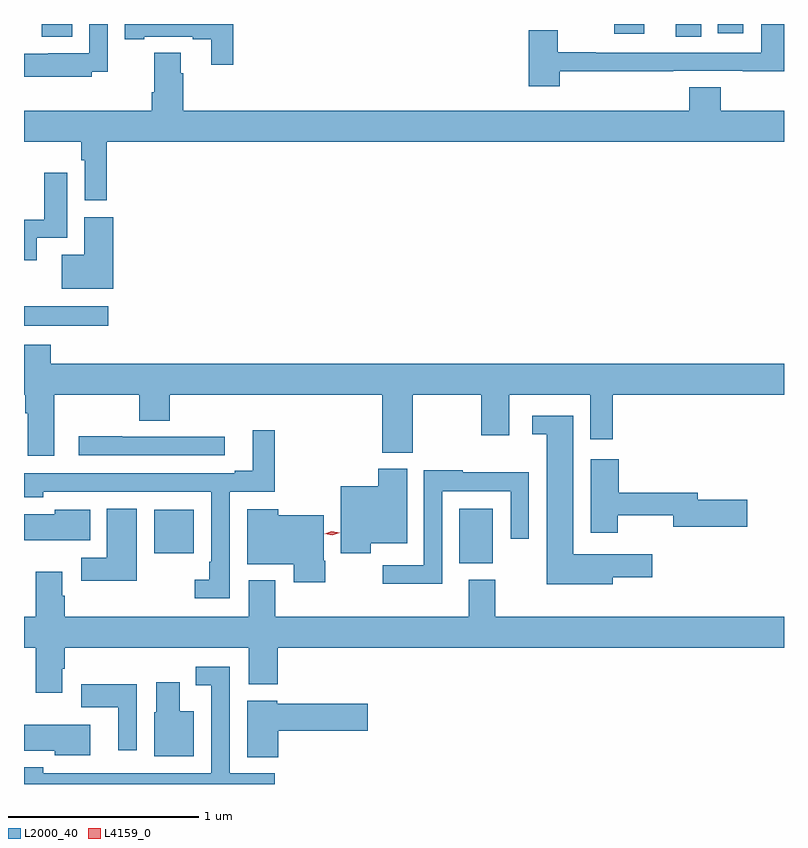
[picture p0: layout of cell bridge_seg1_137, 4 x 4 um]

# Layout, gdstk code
import gdstk
lib = gdstk.Library(unit=1e-6, precision=1e-09)
def R(c, l, rs):  # rectangles x0, y0, x1, y1
    for r in rs: c.add(gdstk.rectangle(r[:2], r[2:], *l))
def P(c, l, *ps):  # polygons
    for p in ps: c.add(gdstk.Polygon(p, *l))
L2000_40 = (2000, 40)
L4159_0 = (4159, 0)

bridge_seg1_137 = lib.new_cell('bridge_seg1_137')
R(bridge_seg1_137, L2000_40, [(493.22,568.163,493.396,568.45), (491.615,568.214,491.824,568.444), (490.93,569.411,491.374,569.515), (491.024,570.932,491.185,571), (494.36,570.934,494.494,571), (494.036,570.948,494.194,571), (494.582,570.951,494.716,571)])
P(bridge_seg1_137, L2000_40, [(492.032,571),(491.459,571),(491.459,570.921),(491.563,570.921),(491.563,570.933),(491.819,570.933),(491.819,570.921),(491.915,570.921),(491.915,570.786),(492.032,570.786)],
  [(493.751,570.752),(494.348,570.752),(494.348,570.753),(494.714,570.753),(494.714,570.752),(494.93,570.752),(494.93,571),(494.81,571),(494.81,570.849),(493.94,570.849),(493.94,570.851),(493.738,570.851),(493.738,570.967),(493.586,570.967),(493.586,570.672),(493.751,570.672)],
  [(491.286,570.749),(491.37,570.749),(491.37,571),(491.274,571),(491.274,570.846),(491.058,570.846),(491.058,570.844),(490.93,570.844),(490.93,570.722),(491.286,570.722)],
  [(494.93,570.544),(494.597,570.544),(494.597,570.668),(494.432,570.668),(494.432,570.544),(491.768,570.544),(491.768,570.74),(491.755,570.74),(491.755,570.848),(491.615,570.848),(491.615,570.64),(491.603,570.64),(491.603,570.544),(490.93,570.544),(490.93,570.38),(491.23,570.38),(491.23,570.284),(491.25,570.284),(491.25,570.072),(491.366,570.072),(491.366,570.38),(494.93,570.38)],
  [(490.996,569.874),(491.158,569.874),(491.158,570.217),(491.036,570.217),(491.036,569.97),(490.93,569.97),(490.93,569.757),(490.996,569.757)],
  [(491.399,569.983),(491.246,569.983),(491.246,569.785),(491.129,569.785),(491.129,569.606),(491.399,569.606)],
  [(491.089,569.048),(491.536,569.048),(491.536,568.912),(491.696,568.912),(491.696,569.048),(492.815,569.048),(492.815,568.744),(492.975,568.744),(492.975,569.048),(493.336,569.048),(493.336,568.836),(493.483,568.836),(493.483,569.048),(493.91,569.048),(493.91,568.815),(494.029,568.815),(494.029,569.048),(494.93,569.048),(494.93,569.212),(491.071,569.212),(491.071,569.311),(490.93,569.311),(490.93,569.048),(490.937,569.048),(490.937,568.952),(490.949,568.952),(490.949,568.728),(491.089,568.728)],
  [(494.029,568.088),(494.236,568.088),(494.236,568.21),(493.822,568.21),(493.822,568.938),(493.605,568.938),(493.605,568.841),(493.682,568.841),(493.682,568.052),(494.029,568.052)],
  [(492.012,568.539),(492.251,568.539),(492.251,568.861),(492.134,568.861),(492.134,568.648),(492.038,568.648),(492.038,568.635),(490.93,568.635),(490.93,568.508),(491.03,568.508),(491.03,568.539),(491.916,568.539),(491.916,568.171),(491.904,568.171),(491.904,568.075),(491.829,568.075),(491.829,567.978),(492.012,567.978)],
  [(491.986,568.827),(491.447,568.827),(491.447,568.83),(491.217,568.83),(491.217,568.731),(491.986,568.731)],
  [(494.055,568.415),(494.348,568.415),(494.348,568.354),(494.737,568.354),(494.737,568.496),(494.476,568.496),(494.476,568.532),(494.06,568.532),(494.06,568.708),(493.913,568.708),(493.913,568.323),(494.055,568.323)],
  [(492.754,568.268),(492.946,568.268),(492.946,568.659),(492.794,568.659),(492.794,568.567),(492.596,568.567),(492.596,568.215),(492.754,568.215)],
  [(493.131,568.541),(493.491,568.541),(493.491,568.29),(493.587,568.29),(493.587,568.642),(493.238,568.642),(493.238,568.652),(493.035,568.652),(493.035,568.152),(492.819,568.152),(492.819,568.055),(493.131,568.055)],
  [(491.524,568.45),(491.366,568.45),(491.366,568.192),(491.232,568.192),(491.232,568.07),(491.524,568.07)],
  [(492.516,568.174),(492.508,568.174),(492.508,568.414),(492.268,568.414),(492.268,568.447),(492.104,568.447),(492.104,568.157),(492.35,568.157),(492.35,568.062),(492.516,568.062)],
  [(491.278,568.444),(491.091,568.444),(491.091,568.42),(490.93,568.42),(490.93,568.283),(491.278,568.283)],
  [(491.131,567.606),(491.144,567.606),(491.144,567.716),(492.113,567.716),(492.113,567.524),(492.266,567.524),(492.266,567.716),(494.93,567.716),(494.93,567.88),(493.411,567.88),(493.411,568.075),(493.271,568.075),(493.271,567.88),(492.253,567.88),(492.253,568.072),(492.113,568.072),(492.113,567.88),(491.144,567.88),(491.144,567.99),(491.131,567.99),(491.131,568.117),(490.991,568.117),(490.991,567.88),(490.93,567.88),(490.93,567.716),(490.991,567.716),(490.991,567.48),(491.131,567.48)],
  [(492.251,567.057),(492.012,567.057),(492.012,567.618),(491.834,567.618),(491.834,567.521),(491.916,567.521),(491.916,567.057),(491.03,567.057),(491.03,567.088),(490.93,567.088),(490.93,567),(492.251,567)],
  [(491.824,567.382),(491.749,567.382),(491.749,567.535),(491.627,567.535),(491.627,567.378),(491.615,567.378),(491.615,567.146),(491.824,567.146)],
  [(491.523,567.526),(491.232,567.526),(491.232,567.404),(491.426,567.404),(491.426,567.177),(491.523,567.177)],
  [(492.268,567.281),(492.739,567.281),(492.739,567.423),(492.264,567.423),(492.264,567.439),(492.104,567.439),(492.104,567.142),(492.268,567.142)],
  [(491.278,567.313),(490.93,567.313),(490.93,567.176),(491.091,567.176),(491.091,567.152),(491.278,567.152)])
P(bridge_seg1_137, L4159_0, [(492.553,568.31),(492.513,568.316),(492.513,568.316),(492.513,568.317),(492.551,568.33),(492.591,568.323),(492.591,568.323),(492.591,568.322)])

lib.write_gds('bridge_seg1_137.gds')
